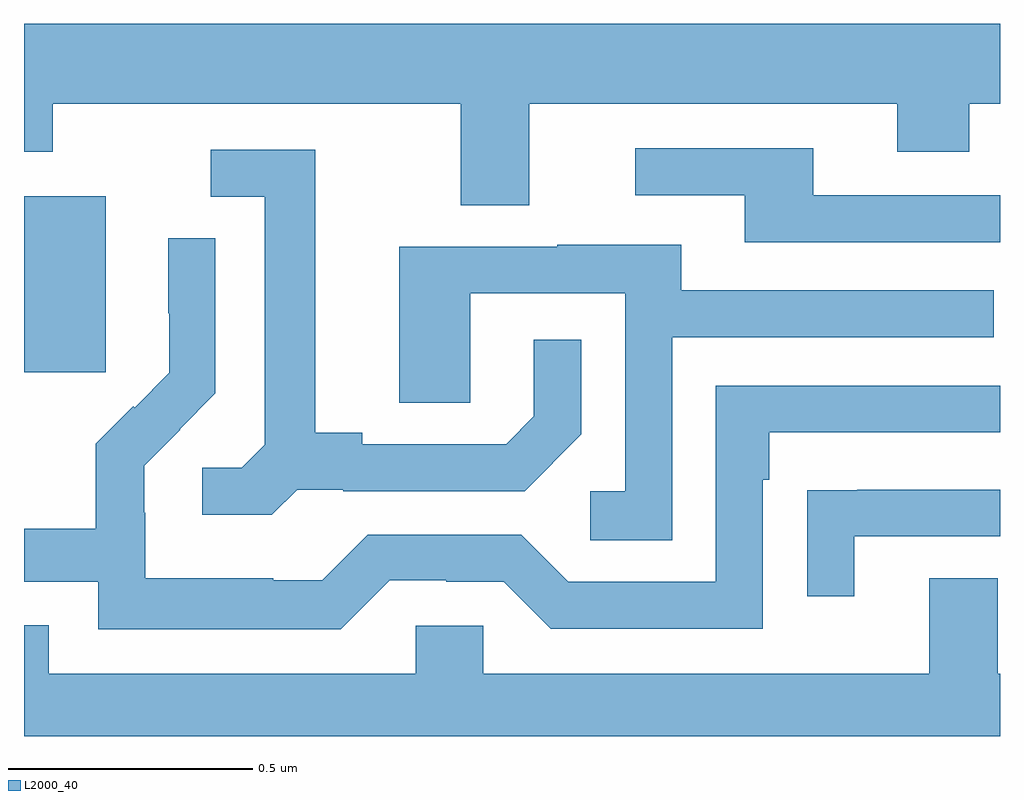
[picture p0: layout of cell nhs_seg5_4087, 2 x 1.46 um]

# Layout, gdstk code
import gdstk
lib = gdstk.Library(unit=1e-6, precision=1e-09)
def R(c, l, rs):  # rectangles x0, y0, x1, y1
    for r in rs: c.add(gdstk.rectangle(r[:2], r[2:], *l))
def P(c, l, *ps):  # polygons
    for p in ps: c.add(gdstk.Polygon(p, *l))
L2000_40 = (2000, 40)

nhs_seg5_4087 = lib.new_cell('nhs_seg5_4087')
R(nhs_seg5_4087, L2000_40, [(166,853.545,166.168,853.906)])
P(nhs_seg5_4087, L2000_40, [(167.035,854.096),(167.789,854.096),(167.789,853.997),(167.937,853.997),(167.937,854.096),(168,854.096),(168,854.26),(166,854.26),(166,853.997),(166.059,853.997),(166.059,854.096),(166.895,854.096),(166.895,853.888),(167.035,853.888)],
  [(168,853.908),(167.617,853.908),(167.617,854.004),(167.253,854.004),(167.253,853.908),(167.477,853.908),(167.477,853.812),(168,853.812)],
  [(166.56,853.305),(166.654,853.305),(166.654,853.302),(167.026,853.302),(167.142,853.418),(167.142,853.612),(167.045,853.612),(167.045,853.455),(166.988,853.398),(166.693,853.398),(166.693,853.421),(166.597,853.421),(166.597,854.001),(166.383,854.001),(166.383,853.905),(166.493,853.905),(166.493,853.397),(166.446,853.35),(166.365,853.35),(166.365,853.253),(166.508,853.253)],
  [(166.749,853.119),(166.865,853.119),(166.865,853.116),(166.983,853.116),(167.079,853.02),(167.514,853.02),(167.514,853.325),(167.527,853.325),(167.527,853.422),(168,853.422),(168,853.518),(167.418,853.518),(167.418,853.116),(167.115,853.116),(167.019,853.212),(166.704,853.212),(166.611,853.119),(166.511,853.119),(166.511,853.123),(166.248,853.123),(166.248,853.257),(166.246,853.257),(166.246,853.354),(166.32,853.428),(166.319,853.429),(166.392,853.502),(166.392,853.82),(166.296,853.82),(166.296,853.666),(166.298,853.666),(166.298,853.544),(166.227,853.473),(166.224,853.476),(166.147,853.399),(166.147,853.225),(166,853.225),(166,853.116),(166.152,853.116),(166.152,853.019),(166.649,853.019)],
  [(167.328,853.617),(167.987,853.617),(167.987,853.713),(167.347,853.713),(167.347,853.807),(167.093,853.807),(167.093,853.803),(166.769,853.803),(166.769,853.483),(166.914,853.483),(166.914,853.707),(167.232,853.707),(167.232,853.302),(167.16,853.302),(167.16,853.201),(167.328,853.201)],
  [(167.701,853.209),(168,853.209),(168,853.305),(167.707,853.305),(167.707,853.304),(167.605,853.304),(167.605,853.086),(167.701,853.086)],
  [(168,852.928),(167.995,852.928),(167.995,853.123),(167.855,853.123),(167.855,852.928),(166.941,852.928),(166.941,853.026),(166.803,853.026),(166.803,852.928),(166.051,852.928),(166.051,853.027),(166,853.027),(166,852.799),(168,852.799)])

lib.write_gds('nhs_seg5_4087.gds')
